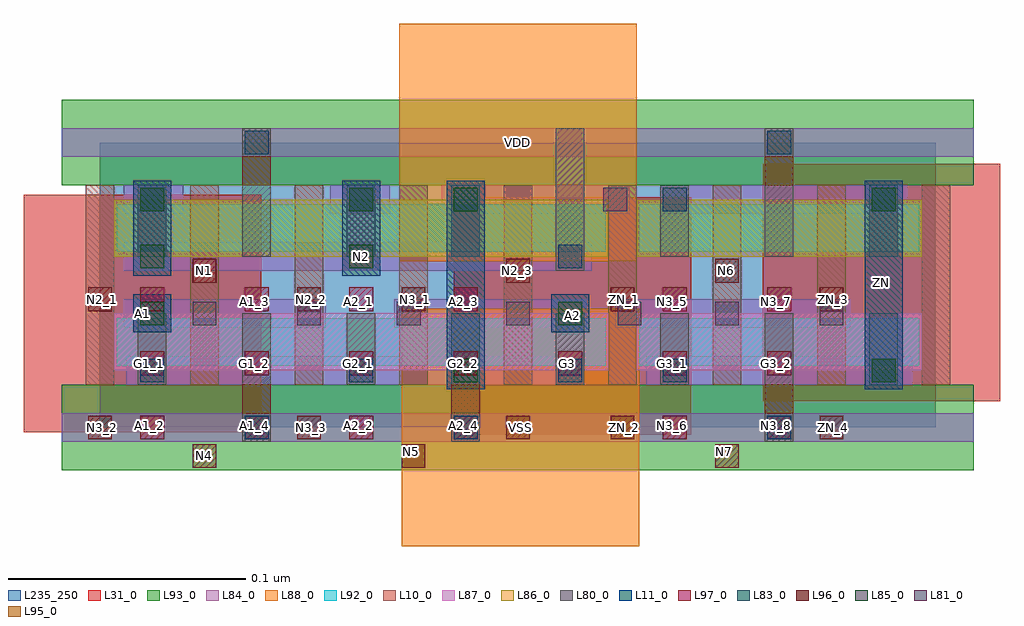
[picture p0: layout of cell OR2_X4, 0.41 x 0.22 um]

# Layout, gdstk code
import gdstk
lib = gdstk.Library(unit=1e-6, precision=1e-09)
def R(c, l, rs):  # rectangles x0, y0, x1, y1
    for r in rs: c.add(gdstk.rectangle(r[:2], r[2:], *l))
def A(c, l, x, y, w, h, nx, ny, dx, dy):  # array of equal rectangles
    R(c, l, [(x+i*dx, y+j*dy, x+i*dx+w, y+j*dy+h) for i in range(nx) for j in range(ny)])
L10_0 = (10, 0)
L11_0 = (11, 0)
L31_0 = (31, 0)
L80_0 = (80, 0)
L81_0 = (81, 0)
L83_0 = (83, 0)
L84_0 = (84, 0)
L85_0 = (85, 0)
L86_0 = (86, 0)
L87_0 = (87, 0)
L88_0 = (88, 0)
L92_0 = (92, 0)
L93_0 = (93, 0)
L95_0 = (95, 0)
L96_0 = (96, 0)
L97_0 = (97, 0)
L235_250 = (235, 250)

or2_x4 = lib.new_cell('OR2_X4')
A(or2_x4, L10_0, -0.006, 0.018, 0.012, 0.084, 9, 1, 0.044, 0)
R(or2_x4, L11_0, [(0.146,0.016,0.162,0.104), (0.322,0.016,0.338,0.104), (0.014,0.04,0.03,0.056), (0.19,0.04,0.206,0.056), (0.014,0.064,0.03,0.104), (0.102,0.064,0.118,0.104)])
R(or2_x4, L31_0, [(0.149,-0.003,0.249,0.097), (-0.032,-0.002,0.068,0.098), (0.279,0.011,0.379,0.111), (0.017,0.043,0.027,0.053), (0.193,0.043,0.203,0.053), (0.325,0.055,0.335,0.065)])
A(or2_x4, L80_0, 0.016, 0.018, 0.012, 0.03, 3, 1, 0.088, 0)
A(or2_x4, L80_0, 0.148, 0.072, 0.012, 0.03, 3, 1, 0.088, 0)
R(or2_x4, L80_0, [(0.06,-0.006,0.072,0.048), (0.148,-0.006,0.16,0.048), (0.28,-0.006,0.292,0.048), (0.236,0.018,0.248,0.048), (0.324,0.018,0.336,0.048), (0.192,0.066,0.204,0.126), (0.016,0.072,0.028,0.102), (0.06,0.072,0.072,0.126), (0.104,0.072,0.116,0.102), (0.28,0.072,0.292,0.126)])
R(or2_x4, L81_0, [(0.039,0.043,0.049,0.053), (0.083,0.043,0.093,0.053), (0.125,0.043,0.135,0.053), (0.171,0.043,0.181,0.053), (0.218,0.043,0.228,0.053), (0.259,0.043,0.269,0.053), (0.303,0.043,0.313,0.053), (0.212,0.091,0.222,0.101)])
A(or2_x4, L83_0, 0.017, 0.019, 0.01, 0.01, 3, 1, 0.088, 0)
A(or2_x4, L83_0, 0.149, 0.091, 0.01, 0.01, 3, 1, 0.088, 0)
R(or2_x4, L83_0, [(0.061,-0.005,0.071,0.005), (0.149,-0.005,0.159,0.005), (0.281,-0.005,0.291,0.005), (0.237,0.019,0.247,0.029), (0.325,0.019,0.335,0.029), (0.193,0.067,0.203,0.077), (0.017,0.091,0.027,0.101), (0.105,0.091,0.115,0.101), (0.061,0.115,0.071,0.125), (0.281,0.115,0.291,0.125)])
R(or2_x4, L84_0, [(-0.016,-0.006,0.368,0.006), (0.011,0.018,0.204,0.03), (0.23,0.018,0.342,0.03), (0.01,0.042,0.095,0.054), (0.124,0.042,0.205,0.054), (0.217,0.042,0.316,0.054), (0.01,0.066,0.207,0.078), (0.01,0.09,0.035,0.102), (0.097,0.09,0.122,0.102), (0.144,0.09,0.223,0.102), (0.236,0.09,0.34,0.102), (-0.016,0.114,0.368,0.126)])
A(or2_x4, L85_0, 0.017, 0.043, 0.01, 0.01, 1, 3, 0, 0.024)
R(or2_x4, L85_0, [(0.149,0.019,0.159,0.029), (0.325,0.019,0.335,0.029), (0.193,0.043,0.203,0.053), (0.105,0.067,0.115,0.077), (0.105,0.091,0.115,0.101), (0.149,0.091,0.159,0.101), (0.325,0.091,0.335,0.101)])
R(or2_x4, L86_0, [(0.006,0.072,0.214,0.096), (0.226,0.072,0.346,0.096)])
R(or2_x4, L87_0, [(0.006,0.024,0.214,0.048), (0.226,0.024,0.346,0.048)])
R(or2_x4, L88_0, [(0.127,-0.05,0.227,0.05), (0.171,-0.005,0.181,0.005), (0.105,0.067,0.115,0.077), (0.126,0.07,0.226,0.17), (0.171,0.115,0.181,0.125)])
R(or2_x4, L92_0, [(0.007,0.026,0.213,0.046), (0.227,0.026,0.345,0.046), (0.007,0.074,0.213,0.094), (0.227,0.074,0.345,0.094)])
R(or2_x4, L93_0, [(-0.016,-0.018,0.368,0.018), (-0.016,0.102,0.368,0.138)])
R(or2_x4, L95_0, [(0.06,0.006,0.072,0.018), (0.148,0.006,0.16,0.018), (0.28,0.006,0.292,0.018), (0.06,0.102,0.072,0.114), (0.28,0.102,0.292,0.114)])
A(or2_x4, L96_0, -0.005, -0.005, 0.01, 0.01, 3, 1, 0.088, 0)
A(or2_x4, L96_0, 0.127, 0.049, 0.01, 0.01, 3, 1, 0.088, 0)
R(or2_x4, L96_0, [(0.039,-0.017,0.049,-0.007), (0.127,-0.017,0.137,-0.007), (0.259,-0.017,0.269,-0.007), (0.215,-0.005,0.225,0.005), (0.303,-0.005,0.313,0.005), (-0.005,0.049,0.005,0.059), (0.083,0.049,0.093,0.059), (0.039,0.061,0.049,0.071), (0.171,0.061,0.181,0.071), (0.259,0.061,0.269,0.071)])
A(or2_x4, L97_0, 0.017, -0.005, 0.01, 0.01, 4, 2, 0.044, 0.054)
A(or2_x4, L97_0, 0.017, 0.022, 0.01, 0.01, 7, 1, 0.044, 0)
R(or2_x4, L97_0, [(0.237,-0.005,0.247,0.005), (0.281,-0.005,0.291,0.005), (0.237,0.049,0.247,0.059), (0.281,0.049,0.291,0.059)])
R(or2_x4, L235_250, [(0,0,0.352,0.12)])
or2_x4.add(gdstk.Label('VSS', (0.177,0), layer=88, texttype=0))
or2_x4.add(gdstk.Label('VDD', (0.176,0.12), layer=88, texttype=0))
or2_x4.add(gdstk.Label('N2', (0.11,0.072), layer=88, texttype=0))
or2_x4.add(gdstk.Label('A2', (0.199,0.047), layer=31, texttype=0))
or2_x4.add(gdstk.Label('ZN', (0.329,0.061), layer=31, texttype=0))
or2_x4.add(gdstk.Label('A1', (0.018,0.048), layer=31, texttype=0))
or2_x4.add(gdstk.Label('N3_7', (0.285,0.053), layer=97, texttype=0))
or2_x4.add(gdstk.Label('N3_5', (0.241,0.053), layer=97, texttype=0))
or2_x4.add(gdstk.Label('N3_6', (0.241,0.001), layer=97, texttype=0))
or2_x4.add(gdstk.Label('N3_8', (0.285,0.001), layer=97, texttype=0))
or2_x4.add(gdstk.Label('G3_1', (0.241,0.027), layer=97, texttype=0))
or2_x4.add(gdstk.Label('G3_2', (0.285,0.027), layer=97, texttype=0))
or2_x4.add(gdstk.Label('G3', (0.197,0.027), layer=97, texttype=0))
or2_x4.add(gdstk.Label('G2_2', (0.153,0.027), layer=97, texttype=0))
or2_x4.add(gdstk.Label('A2_4', (0.153,0.001), layer=97, texttype=0))
or2_x4.add(gdstk.Label('A2_3', (0.153,0.053), layer=97, texttype=0))
or2_x4.add(gdstk.Label('A2_1', (0.109,0.053), layer=97, texttype=0))
or2_x4.add(gdstk.Label('G2_1', (0.109,0.027), layer=97, texttype=0))
or2_x4.add(gdstk.Label('A2_2', (0.109,0.001), layer=97, texttype=0))
or2_x4.add(gdstk.Label('A1_3', (0.065,0.053), layer=97, texttype=0))
or2_x4.add(gdstk.Label('A1_4', (0.065,0.001), layer=97, texttype=0))
or2_x4.add(gdstk.Label('G1_2', (0.065,0.027), layer=97, texttype=0))
or2_x4.add(gdstk.Label('A1_2', (0.021,0.001), layer=97, texttype=0))
or2_x4.add(gdstk.Label('G1_1', (0.021,0.027), layer=97, texttype=0))
or2_x4.add(gdstk.Label('A1_1', (0.021,0.053), layer=97, texttype=0))
or2_x4.add(gdstk.Label('N6', (0.264,0.066), layer=96, texttype=0))
or2_x4.add(gdstk.Label('N7', (0.263,-0.01), layer=96, texttype=0))
or2_x4.add(gdstk.Label('ZN_1', (0.221,0.054), layer=96, texttype=0))
or2_x4.add(gdstk.Label('N4', (0.044,-0.012), layer=96, texttype=0))
or2_x4.add(gdstk.Label('N1', (0.044,0.066), layer=96, texttype=0))
or2_x4.add(gdstk.Label('N3_1', (0.133,0.054), layer=96, texttype=0))
or2_x4.add(gdstk.Label('N3_3', (0.089,0), layer=96, texttype=0))
or2_x4.add(gdstk.Label('N2_3', (0.176,0.066), layer=96, texttype=0))
or2_x4.add(gdstk.Label('N5', (0.131,-0.01), layer=96, texttype=0))
or2_x4.add(gdstk.Label('N2_1', (0.001,0.054), layer=96, texttype=0))
or2_x4.add(gdstk.Label('N3_2', (0.001,0), layer=96, texttype=0))
or2_x4.add(gdstk.Label('N3_4', (0.177,0), layer=96, texttype=0))
or2_x4.add(gdstk.Label('ZN_2', (0.221,0), layer=96, texttype=0))
or2_x4.add(gdstk.Label('ZN_4', (0.309,0), layer=96, texttype=0))
or2_x4.add(gdstk.Label('N2_2', (0.089,0.054), layer=96, texttype=0))
or2_x4.add(gdstk.Label('ZN_3', (0.309,0.054), layer=96, texttype=0))

lib.write_gds('OR2_X4.gds')
